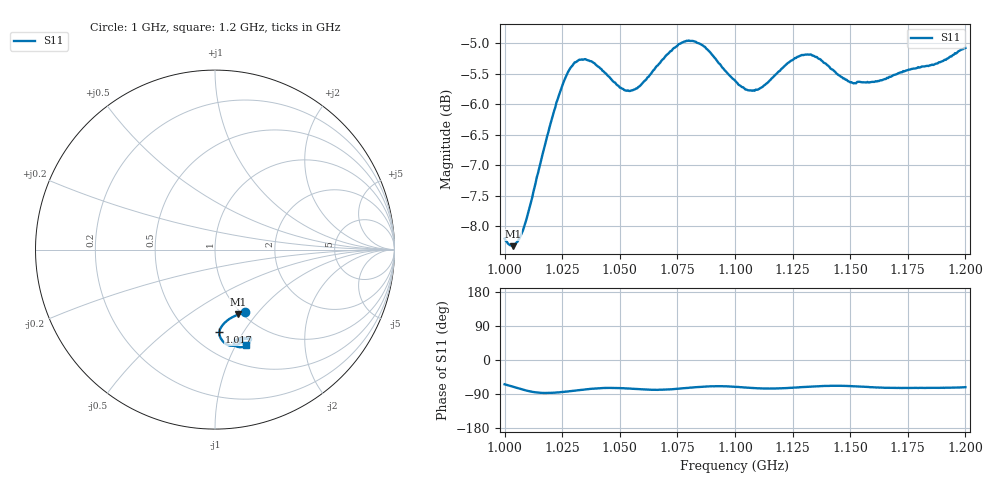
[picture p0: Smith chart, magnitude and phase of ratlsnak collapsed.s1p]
! NanoVNA-App
! Date: 2026-05-22 22:03:59
! Start: 1GHz Stop: 1.2GHz Points: 401
! S-Parameter data: F S11
# Hz S RI R 50
!  Frequency  S11_Real  S11_Imag
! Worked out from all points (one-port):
!   401 points, 1 GHz to 1.2 GHz, reference 50 ohm
!   lowest |S11| = -8.3 dB at 1.004 GHz (marker M1), VSWR 2.24, Z = 48 - j40.6 ohm
!   |S11| at or under -10 dB: nowhere
!   S11 on the Smith chart (normalised r, x): 1 GHz: 1.05, -0.86; 1.017 GHz: 0.68, -0.79; 1.2 GHz: 0.72, -1.10
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1e9  0.1697 -0.3499
1.0035e9  0.1295 -0.3608
1.0075e9  0.0844 -0.384
1.0115e9  0.0483 -0.4143
1.017e9  0.0236 -0.4594
1.0205e9  0.0286 -0.4868
1.025e9  0.0492 -0.5161
1.0315e9  0.0927 -0.5357
1.0395e9  0.1395 -0.5219
1.044e9  0.1491 -0.5097
1.05e9  0.1409 -0.4977
1.0565e9  0.1227 -0.5006
1.064e9  0.1067 -0.5217
1.0685e9  0.1106 -0.5339
1.075e9  0.1353 -0.5432
1.0805e9  0.1656 -0.54
1.088e9  0.1917 -0.5218
1.0945e9  0.1894 -0.5026
1.1e9  0.1719 -0.4952
1.1125e9  0.1337 -0.5016
1.1185e9  0.1384 -0.5137
1.125e9  0.1564 -0.5218
1.1385e9  0.1998 -0.5039
1.15e9  0.1896 -0.4867
1.1635e9  0.1549 -0.501
1.175e9  0.149 -0.5134
1.19e9  0.156 -0.5207
1.2e9  0.1749 -0.5293
